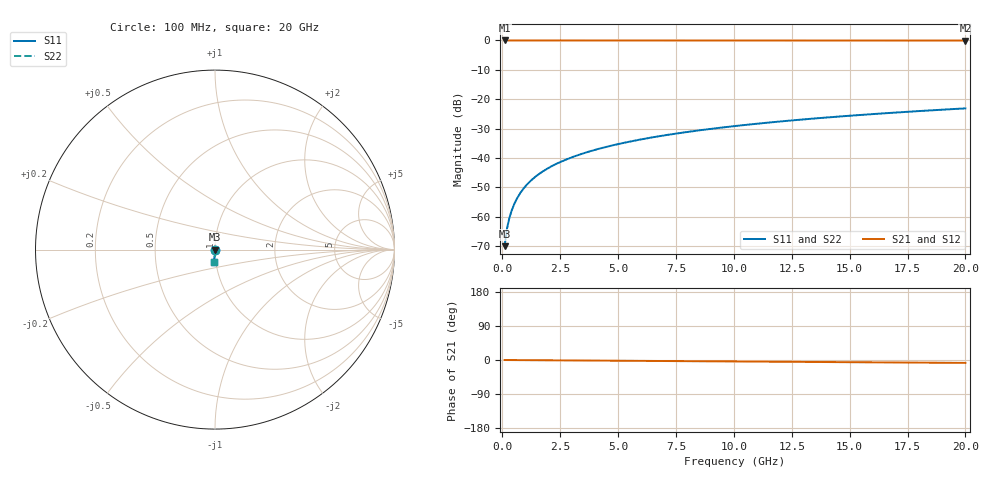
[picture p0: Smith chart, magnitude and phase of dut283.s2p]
! Touchstone file exported from HFSS 2026.1.0
!  File:  C:/ffzhzh/LocalFiles/Ansys_Project_Files/temp_train_TSV_283_1782993600_41620.aedt
!  Generated:  08:01:22 PM Jul  2, 2026
!  Design:  TSV
!  Project:  temp_train_TSV_283_1782993600_41620
! Variables:
!  h_bsmrdl = 2um
!  h_ox = 20um
!  h_rdl = 5um
!  h_sub = 68.67um
!  h_tmrdl = 5um
!  h_tsv = 68.67um
!  h_via = 3um
!  l_bsmrdl = 300um
!  l_sub = 425.74um
!  l_tmrdl = 200um
!  m_sub = 200um
!  pitch = 33.34um
!  r_tsv = 12.87um
!  s_tmrdl = 10um
!  w_bsmrdl = 18um
!  w_sub = 500um
!  w_tmrdl = 12um
!  x_tsv_center1 = 206um
!  x_tsv_center2 = 524um
!  x_tsv_center3 = 736um
!  x_tsv_center4 = 1054um
!  x_tsv_center5 = 1266um
!  x_tsv_center6 = 1584um
# GHz S MA R 50.000000
! Terminal data exported
! Port[1] = TSV1_1_T1
! Port[2] = TSV1_1_T2
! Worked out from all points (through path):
!   200 points, 100 MHz to 20 GHz, reference 50 ohm
!   highest |S21| = 0.00 dB at 100 MHz (marker M1); lowest = 0.0 dB at 20 GHz (marker M2)
!   group delay of S21, straight-line fit = 1.06 ps
!   lowest |S11| = -70.0 dB at 100 MHz (marker M3), VSWR 1.00, Z = 50 - j0.0305 ohm
!   |S11| at or under -10 dB: start of sweep to end of sweep
!   |S22| runs from -70.0 to -23.1 dB; largest |S21 - S12| = 3.1e-15
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0.1  0.0003179 -73.8  0.9999 -0.0  0.9999 -0.0  0.0003179 -73.8
! Gamma 0 0 0 0
! Port Impedance 50 0 50 0
0.2  0.0006237 -80.4  0.9999 -0.1  0.9999 -0.1  0.0006237 -80.4
0.3  0.0009404 -82.4  0.9999 -0.1  0.9999 -0.1  0.0009404 -82.4
0.4  0.001266 -83.2  0.9998 -0.2  0.9998 -0.2  0.001266 -83.2
0.5  0.001599 -83.8  0.9998 -0.2  0.9998 -0.2  0.001599 -83.8
0.7  0.002281 -84.6  0.9998 -0.3  0.9998 -0.3  0.002281 -84.6
0.8  0.002626 -84.9  0.9997 -0.3  0.9997 -0.3  0.002626 -84.9
1  0.003321 -85.6  0.9997 -0.4  0.9997 -0.4  0.003321 -85.6
1.2  0.004018 -86.1  0.9997 -0.5  0.9997 -0.5  0.004018 -86.1
1.4  0.004716 -86.6  0.9997 -0.6  0.9997 -0.6  0.004716 -86.6
1.7  0.005762 -87.2  0.9996 -0.7  0.9996 -0.7  0.005762 -87.2
2  0.006808 -87.6  0.9996 -0.8  0.9996 -0.8  0.006808 -87.6
2.7  0.009247 -88.4  0.9995 -1.1  0.9995 -1.1  0.009247 -88.4
3.5  0.01204 -89.1  0.9994 -1.4  0.9994 -1.4  0.01204 -89.1
4.2  0.01449 -89.6  0.9994 -1.6  0.9994 -1.6  0.01449 -89.6
5  0.01729 -90.0  0.9993 -1.9  0.9993 -1.9  0.01729 -90.0
6.8  0.02362 -91.0  0.999 -2.6  0.999 -2.6  0.02362 -91.0
8.3  0.0289 -91.7  0.9988 -3.2  0.9988 -3.2  0.0289 -91.7
10.1  0.03524 -92.5  0.9985 -3.9  0.9985 -3.9  0.03524 -92.5
13.4  0.04686 -94.0  0.9979 -5.2  0.9979 -5.2  0.04686 -94.0
16.7  0.05845 -95.4  0.9972 -6.4  0.9972 -6.4  0.05846 -95.4
20  0.07003 -96.7  0.9964 -7.7  0.9964 -7.7  0.07003 -96.7
